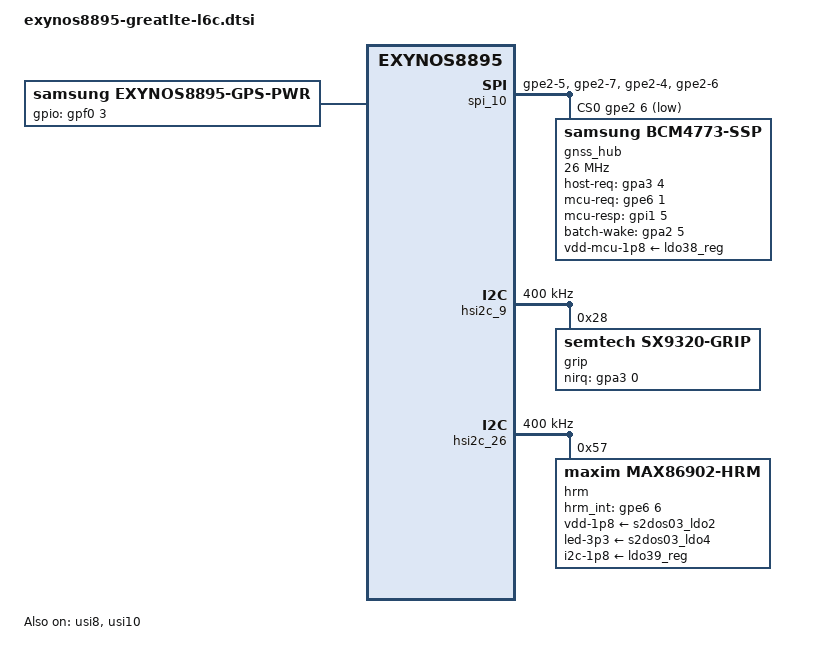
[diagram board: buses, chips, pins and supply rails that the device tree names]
// SPDX-License-Identifier: GPL-2.0 OR BSD-3-Clause
/*
 * Samsung Galaxy Note 8 (greatlte, SM-N950N) board DT, part "l6c":
 * L6C modem, GNSS/sensor hub, grip, HRM (L6C 4).
 *
 * Included at the end of exynos8895-greatlte.dts, after L0's nodes, in the merge
 * order of FULL_IMAGE_PLAN.md 2.2. Owner: WP-6C; no other work package edits this
 * file (plan 2.3 rule D1). A node that two parts both configure (&usi9, &usi10)
 * is written identically in both files: dtc lets the later file win on a differing
 * value, which gl-verify V-DUP reports as an error. L0's reserved-memory stays in
 * the .dts; carveout additions and flag changes are &label edits here (plan X-8).
 */

#include <dt-bindings/gpio/gpio.h>
#include <dt-bindings/interrupt-controller/arm-gic.h>
#include <dt-bindings/soc/samsung,exynos-usi.h>	/* USI_MODE_SPI, 4.2 */
#include "exynos-pinctrl.h"			/* A:arch/arm64/boot/dts/exynos/exynos-pinctrl.h, pin macros of 4.2 */

/* L6C 4.1 (6E modem) */

/* L6.7, plan X-8 (registered flag change): the ported shm_ipc needs the linear map of the CP window
 * (ZMB phys_to_virt: S:drivers/misc/mcu_ipc/shm_ipc.c:357; ZMB cells dma_map_single'd:
 * S:drivers/misc/modem_v1/link_device_memory_sbd.c:1033) and of the CP-log window (released page by page with
 * free_reserved_page() when the S-Boot token is not "on": S:.../shm_ipc.c:434-445, :585-587). Stock kept both mapped. */
&modem_mem {
	/delete-property/ no-map;
};

&cp_ram_logging_mem {
	/delete-property/ no-map;
};

&soc {
	/* AP<->CP mailbox. FDT:10652-10659; S:arch/arm64/boot/dts/exynos/exynos8895-greatlte_common.dtsi:1124-1130 */
	mcu_ipc_cp: mailbox@15b40000 {
		compatible = "samsung,exynos8895-mcu-ipc";	/* new; stock "samsung,exynos-shd-ipc-mailbox" FDT:10654 */
		reg = <0x15b40000 0x180>;			/* FDT:10655 <0x00 0x15b40000 0x180> */
		interrupts = <GIC_SPI 97 IRQ_TYPE_LEVEL_HIGH>;	/* FDT:10658 <0x00 0x61 0x00> */
		mcu,name = "mcu_ipc_cp";			/* FDT:10656 */
		mcu,id = <0>;					/* FDT:10657, MCU_CP (S:drivers/misc/mcu_ipc/mcu_ipc.h:20-24) */
		/* FDT:10653 mcu,irq_affinity_mask = <3> dropped: used only by ARGOS (D-8) */
	};
};

/ {
	/* CP shared-memory layout. FDT:10642-10650; S:.../modem-ss355ap-pdata.dtsi:370-379 (unit address dropped: no reg) */
	shmem_cp: shmem-ipc {
		compatible = "samsung,exynos8895-shm-ipc";	/* new; stock "samsung,exynos-shm_ipc" FDT:10643 */
		memory-region = <&modem_mem>, <&cp_ram_logging_mem>;	/* L0 4.5 labels; stock RESERVEDMEM_OF_DECLARE shm_ipc.c:459,:472 */
		memory-region-names = "modem_if", "cp_ram_logging";
		shmem,cp_size = <0x7a00000>;			/* FDT:10644 "CP 122MB" */
		shmem,vss_size = <0x600000>;			/* FDT:10645 "VSS 6MB" */
		shmem,ipc_offset = <0x8000000>;			/* FDT:10646 */
		shmem,ipc_size = <0x500000>;			/* FDT:10647 "5MB" */
		shmem,zmb_offset = <0x8500000>;			/* FDT:10648 (dtc prints "\bP\0" = 08 50 00 00); S:...pdata.dtsi:377 */
		shmem,zmb_size = <0xb00000>;			/* FDT:10649 "11MB" */
		samsung,acpm-dump = <&apm_sram>;		/* L2 4.2; replaces acpm_ipc dump-base/dump-size FDT:6692-6693 (0x16500000/0xb400) */
	};

	/* Modem interface. FDT:10286-10640; S:.../modem-ss355ap-pdata.dtsi:14-368 + S:.../exynos8895-greatlte_common.dtsi:1132-1140.
	 * Must stay at the root with this reg: platform device "10000.mif_pdata" (A:drivers/of/device.c:304-305, cbd path F-15),
	 * resource start 0x10000 = CP main-binary offset in the boot region (S:.../link_device_shmem.c:2085-2088, :3735);
	 * zero size is legal (A:drivers/of/address.c:195-196). */
	mif_pdata {
		compatible = "samsung,exynos8895-modem";	/* new; stock "sec_modem,modem_pdata" FDT:10288 */
		reg = <0x0 0x10000 0x0>;			/* FDT:10287 */
		interrupts = <GIC_SPI 21 IRQ_TYPE_LEVEL_HIGH>,	/* FDT:10290 idx 0 -> "cp_fail" (S:.../modem_ctrl_ss310ap.c:648) */
			     <GIC_SPI 57 IRQ_TYPE_LEVEL_HIGH>;	/*   idx 1 -> "cp_wdt" (:664); dtsi comment :20 names them ALIVE_CP_ACTIVE / CP2AP_RESET_REQ */
		samsung,mailbox = <&mcu_ipc_cp>;		/* new: probe ordering (5.1.1) */
		samsung,shmem = <&shmem_cp>;			/* new: probe ordering */
		samsung,pmu-syscon = <&pmu_system_controller>;	/* new: D-5 */

		mif,name = "ss355ap";				/* FDT:10291 */
		mif,modem_net = <0>;				/* FDT:10292 UMTS_NETWORK */
		mif,modem_type = <10>;				/* FDT:10293 SEC_SS310AP */
		mif,use_handover = <0>;				/* FDT:10294 */
		mif,ipc_version = <50>;				/* FDT:10295 0x32 = SIPC 5.0 */
		mif,link_types = <0x200>;			/* FDT:10296 LINKDEV_SHMEM */
		mif,link_name = "shmem";			/* FDT:10297 */
		mif,link_attrs = <0x7c9>;			/* FDT:10298 XMIT_BTDLR|DUMP_ALIGNED|BOOT_ALIGNED|MEM_DUMP|MEM_BOOT|DPRAM_MAGIC|SBD_IPC */
		mif,num_iodevs = <20>;				/* FDT:10299 0x14 */
		mif,buff_offset = <0x500000>;			/* FDT:10300 */
		mif,buff_size = <0x900000>;			/* FDT:10301 */
		mif,bufpool_2nd_base = <0xe9000000>;		/* FDT:10302 - parsed, never provided to CP (C-2) */
		mif,bufpool_2nd_size = <0x4000000>;		/* FDT:10303 */
		mbx_ap2cp_msg = <0>;				/* FDT:10304 */
		mbx_cp2ap_msg = <1>;				/* FDT:10305 */
		mbx_ap2cp_united_status = <2>;			/* FDT:10306 */
		mbx_cp2ap_united_status = <3>;			/* FDT:10307 */
		mbx_ap2cp_mif_value = <4>;			/* FDT:10308 */
		mbx_ap2cp_kerneltime = <9>;			/* FDT:10309 */
		mif,int_ap2cp_msg = <0>;			/* FDT:10310 */
		mif,int_ap2cp_wakeup = <1>;			/* FDT:10311 */
		mif,int_ap2cp_status = <2>;			/* FDT:10312 */
		mif,int_ap2cp_active = <3>;			/* FDT:10313 */
		mif,irq_cp2ap_msg = <0>;			/* FDT:10314 */
		mif,irq_cp2ap_status = <2>;			/* FDT:10315 */
		mif,irq_cp2ap_active = <4>;			/* FDT:10316 */
		mif,irq_cp2ap_wakelock = <8>;			/* FDT:10317 */
		mif,irq_cp2ap_ratmode = <9>;			/* FDT:10318 */
		mbx_cp2ap_dvfsreq_cpu = <5>;			/* FDT:10319 */
		mbx_cp2ap_dvfsreq_mif = <6>;			/* FDT:10320 */
		mbx_cp2ap_dvfsreq_int = <7>;			/* FDT:10321 */
		mif,irq_cp2ap_perf_req_cpu = <5>;		/* FDT:10322 */
		mif,irq_cp2ap_perf_req_mif = <6>;		/* FDT:10323 */
		mif,irq_cp2ap_perf_req_int = <7>;		/* FDT:10324 */
		sbi_cp_rat_mode_mask = <0x3f>;			/* FDT:10325 */
		sbi_cp_rat_mode_pos = <26>;			/* FDT:10326 0x1a */
		sbi_cp_evs_mode_mask = <0x1>;			/* FDT:10327 */
		sbi_cp_evs_mode_pos = <7>;			/* FDT:10328 */
		sbi_cp_wakelock_mask = <0x1>;			/* FDT:10329 */
		sbi_cp_wakelock_pos = <6>;			/* FDT:10330 */
		sbi_lte_active_mask = <0x1>;			/* FDT:10331 */
		sbi_lte_active_pos = <5>;			/* FDT:10332 */
		sbi_cp_status_mask = <0xf>;			/* FDT:10333 */
		sbi_cp_status_pos = <1>;			/* FDT:10334 */
		sbi_cp2ap_wakelock_mask = <0x1>;		/* FDT:10335 */
		sbi_cp2ap_wakelock_pos = <6>;			/* FDT:10336 */
		sbi_pda_active_mask = <0x1>;			/* FDT:10337 */
		sbi_pda_active_pos = <5>;			/* FDT:10338 */
		sbi_ap_status_mask = <0xf>;			/* FDT:10339 */
		sbi_ap_status_pos = <1>;			/* FDT:10340 */
		sbi_crash_type_mask = <0xf>;			/* FDT:10341 */
		sbi_crash_type_pos = <23>;			/* FDT:10342 0x17 */
		sbi_device_type_mask = <0x1f>;			/* FDT:10343 */
		sbi_device_type_pos = <18>;			/* FDT:10344 0x12 */
		sbi_ext_backtrace_mask = <0x1>;			/* FDT:10345 */
		sbi_ext_backtrace_pos = <17>;			/* FDT:10346 0x11 */
		sbi_ds_det_mask = <0x3>;			/* FDT:10347 */
		sbi_ds_det_pos = <14>;				/* FDT:10348 0x0e */
		sbi_sys_rev_mask = <0xff>;			/* FDT:10349 */
		sbi_sys_rev_pos = <6>;				/* FDT:10350 */
		sbi_lockval_cp2ap_dvfsreq_endian_mask = <0x1>;	/* FDT:10351 */
		sbi_lockval_cp2ap_dvfsreq_endian_pos = <31>;	/* FDT:10352 0x1f */
		sbi_lockval_cp2ap_dvfsreq_index_mask = <0x7fff>;	/* FDT:10353 */
		sbi_lockval_cp2ap_dvfsreq_index_pos = <0>;	/* FDT:10354 */
		sbi_ap2cp_kerneltime_sec_mask = <0xfff>;	/* FDT:10355 */
		sbi_ap2cp_kerneltime_sec_pos = <20>;		/* FDT:10356 0x14 */
		sbi_ap2cp_kerneltime_usec_mask = <0xfffff>;	/* FDT:10357 */
		sbi_ap2cp_kerneltime_usec_pos = <0>;		/* FDT:10358 */
		/* HW revision straps read into mailbox word 2 [13:6], bit n = GPIO n (S:.../modem_ctrl_ss310ap.c:144-167).
		 * FDT:10359: phandle 0xd7 = gpf1, 0x140 = gpd0 (work/scratch/L6_rest/phandles.txt);
		 * S:.../exynos8895-greatlte_common.dtsi:1133-1135 "XGPIO32-CP_REV0 ... XGPIO42-AP_REV3" */
		gpios = <&gpf1 1 GPIO_ACTIVE_HIGH>, <&gpf1 2 GPIO_ACTIVE_HIGH>,
			<&gpf1 3 GPIO_ACTIVE_HIGH>, <&gpf1 7 GPIO_ACTIVE_HIGH>,
			<&gpd0 0 GPIO_ACTIVE_HIGH>, <&gpd0 1 GPIO_ACTIVE_HIGH>,
			<&gpd0 2 GPIO_ACTIVE_HIGH>, <&gpd0 3 GPIO_ACTIVE_HIGH>;
		/* FDT:10360 pinctrl-names = "default" without pinctrl-0: no effect in stock, dropped */

		iodevs {					/* FDT:10362-10639, verbatim; channel ids per SIPC5 */
			io_device_0 {				/* FDT:10364-10376 */
				iod,name = "umts_ipc0"; iod,id = <0xeb>; iod,format = <0>; iod,io_type = <0>;
				iod,links = <0x200>; iod,attrs = <0x82>; iod,app = "RIL";
				iod,ul_num_buffers = <16>; iod,ul_buffer_size = <0x1000>;
				iod,dl_num_buffers = <32>; iod,dl_buffer_size = <0x1000>;
			};
			io_device_1 {				/* FDT:10378-10390 */
				iod,name = "umts_ipc1"; iod,id = <0xec>; iod,format = <0>; iod,io_type = <0>;
				iod,links = <0x200>; iod,attrs = <0x82>; iod,app = "RIL";
				iod,ul_num_buffers = <16>; iod,ul_buffer_size = <0x1000>;
				iod,dl_num_buffers = <32>; iod,dl_buffer_size = <0x1000>;
			};
			io_device_2 {				/* FDT:10392-10404 */
				iod,name = "umts_rfs0"; iod,id = <0xf5>; iod,format = <2>; iod,io_type = <0>;
				iod,links = <0x200>; iod,attrs = <0x82>; iod,app = "RFS";
				iod,ul_num_buffers = <16>; iod,ul_buffer_size = <0x800>;
				iod,dl_num_buffers = <512>; iod,dl_buffer_size = <0x800>;
			};
			io_device_3 {				/* FDT:10406-10418 */
				iod,name = "umts_csd"; iod,id = <0x1>; iod,format = <1>; iod,io_type = <0>;
				iod,links = <0x200>; iod,attrs = <0x82>; iod,app = "CSVT";
				iod,ul_num_buffers = <32>; iod,ul_buffer_size = <0x800>;
				iod,dl_num_buffers = <64>; iod,dl_buffer_size = <0x800>;
			};
			io_device_4 {				/* FDT:10420-10432 */
				iod,name = "umts_router"; iod,id = <0x19>; iod,format = <1>; iod,io_type = <0>;
				iod,links = <0x200>; iod,attrs = <0x82>; iod,app = "Data Router";
				iod,ul_num_buffers = <16>; iod,ul_buffer_size = <0x800>;
				iod,dl_num_buffers = <16>; iod,dl_buffer_size = <0x800>;
			};
			io_device_5 {				/* FDT:10434-10446 */
				iod,name = "umts_dm0"; iod,id = <0x1c>; iod,format = <1>; iod,io_type = <0>;
				iod,links = <0x200>; iod,attrs = <0x82>; iod,app = "DIAG";
				iod,ul_num_buffers = <16>; iod,ul_buffer_size = <0x800>;
				iod,dl_num_buffers = <128>; iod,dl_buffer_size = <0x800>;
			};
			/* io_device_6..13: rmnet0..rmnet7, FDT:10448-10562: ids 0x0a..0x11, format 1, io_type 1 (NET),
			 * links 0x200, attrs 0x180, napi_weight 0x40, ul/dl_num_buffers 0, ul/dl_buffer_size 0x800;
			 * io_device_6..9 carry iod,app = "NET", 10..13 have no iod,app (FDT:10508-10562) */
			io_device_6 {
				iod,name = "rmnet0"; iod,id = <0x0a>; iod,format = <1>; iod,io_type = <1>;
				iod,links = <0x200>; iod,attrs = <0x180>; iod,app = "NET"; iod,napi_weight = <64>;
				iod,ul_num_buffers = <0>; iod,ul_buffer_size = <0x800>;
				iod,dl_num_buffers = <0>; iod,dl_buffer_size = <0x800>;
			};
			io_device_7 {				/* FDT:10463-10476 */
				iod,name = "rmnet1"; iod,id = <0x0b>; iod,format = <1>; iod,io_type = <1>;
				iod,links = <0x200>; iod,attrs = <0x180>; iod,app = "NET"; iod,napi_weight = <64>;
				iod,ul_num_buffers = <0>; iod,ul_buffer_size = <0x800>;
				iod,dl_num_buffers = <0>; iod,dl_buffer_size = <0x800>;
			};
			io_device_8 {				/* FDT:10478-10491 */
				iod,name = "rmnet2"; iod,id = <0x0c>; iod,format = <1>; iod,io_type = <1>;
				iod,links = <0x200>; iod,attrs = <0x180>; iod,app = "NET"; iod,napi_weight = <64>;
				iod,ul_num_buffers = <0>; iod,ul_buffer_size = <0x800>;
				iod,dl_num_buffers = <0>; iod,dl_buffer_size = <0x800>;
			};
			io_device_9 {				/* FDT:10493-10506 */
				iod,name = "rmnet3"; iod,id = <0x0d>; iod,format = <1>; iod,io_type = <1>;
				iod,links = <0x200>; iod,attrs = <0x180>; iod,app = "NET"; iod,napi_weight = <64>;
				iod,ul_num_buffers = <0>; iod,ul_buffer_size = <0x800>;
				iod,dl_num_buffers = <0>; iod,dl_buffer_size = <0x800>;
			};
			io_device_10 {				/* FDT:10508-10520 (no iod,app) */
				iod,name = "rmnet4"; iod,id = <0x0e>; iod,format = <1>; iod,io_type = <1>;
				iod,links = <0x200>; iod,attrs = <0x180>; iod,napi_weight = <64>;
				iod,ul_num_buffers = <0>; iod,ul_buffer_size = <0x800>;
				iod,dl_num_buffers = <0>; iod,dl_buffer_size = <0x800>;
			};
			io_device_11 {				/* FDT:10522-10534 (no iod,app) */
				iod,name = "rmnet5"; iod,id = <0x0f>; iod,format = <1>; iod,io_type = <1>;
				iod,links = <0x200>; iod,attrs = <0x180>; iod,napi_weight = <64>;
				iod,ul_num_buffers = <0>; iod,ul_buffer_size = <0x800>;
				iod,dl_num_buffers = <0>; iod,dl_buffer_size = <0x800>;
			};
			io_device_12 {				/* FDT:10536-10548 (no iod,app) */
				iod,name = "rmnet6"; iod,id = <0x10>; iod,format = <1>; iod,io_type = <1>;
				iod,links = <0x200>; iod,attrs = <0x180>; iod,napi_weight = <64>;
				iod,ul_num_buffers = <0>; iod,ul_buffer_size = <0x800>;
				iod,dl_num_buffers = <0>; iod,dl_buffer_size = <0x800>;
			};
			io_device_13 {				/* FDT:10550-10562 (no iod,app) */
				iod,name = "rmnet7"; iod,id = <0x11>; iod,format = <1>; iod,io_type = <1>;
				iod,links = <0x200>; iod,attrs = <0x180>; iod,napi_weight = <64>;
				iod,ul_num_buffers = <0>; iod,ul_buffer_size = <0x800>;
				iod,dl_num_buffers = <0>; iod,dl_buffer_size = <0x800>;
			};
			io_device_14 {				/* FDT:10564-10576 */
				iod,name = "multipdp_hiprio"; iod,id = <0>; iod,format = <3>; iod,io_type = <2>;
				iod,links = <0x200>; iod,attrs = <0x180>; iod,app = "RIL";
				iod,ul_num_buffers = <256>; iod,ul_buffer_size = <0x800>;
				iod,dl_num_buffers = <256>; iod,dl_buffer_size = <0x800>;
			};
			io_device_15 {				/* FDT:10578-10590; attrs bit 12 = ATTR_ZEROCOPY (C-2) */
				iod,name = "multipdp"; iod,id = <0>; iod,format = <3>; iod,io_type = <2>;
				iod,links = <0x200>; iod,attrs = <0x1180>; iod,app = "RIL";
				iod,ul_num_buffers = <512>; iod,ul_buffer_size = <0x800>;
				iod,dl_num_buffers = <1024>; iod,dl_buffer_size = <0x8>;
			};
			io_device_16 {				/* FDT:10592-10600 */
				iod,name = "umts_boot0"; iod,id = <0xd7>; iod,format = <4>; iod,io_type = <0>;
				iod,links = <0x200>; iod,attrs = <0x2>; iod,app = "CBD";
			};
			io_device_17 {				/* FDT:10602-10610 */
				iod,name = "umts_ramdump0"; iod,id = <0xe1>; iod,format = <5>; iod,io_type = <0>;
				iod,links = <0x200>; iod,attrs = <0x202>; iod,app = "CBD";
			};
			io_device_18 {				/* FDT:10612-10624 */
				iod,name = "smd4"; iod,id = <0x21>; iod,format = <1>; iod,io_type = <0>;
				iod,links = <0x200>; iod,attrs = <0x882>;
				iod,ul_num_buffers = <16>; iod,ul_buffer_size = <0x800>;
				iod,dl_num_buffers = <128>; iod,dl_buffer_size = <0x800>;
				iod,option_region = "kor_single";
			};
			io_device_19 {				/* FDT:10626-10638; filtered out (region usa_att) but kept: mif,num_iodevs = 20 */
				iod,name = "umts_ciq0"; iod,id = <0x1a>; iod,format = <1>; iod,io_type = <0>;
				iod,links = <0x200>; iod,attrs = <0x882>;
				iod,ul_num_buffers = <16>; iod,ul_buffer_size = <0x800>;
				iod,dl_num_buffers = <128>; iod,dl_buffer_size = <0x800>;
				iod,option_region = "usa_att";
			};
		};
	};
};

/* L6C 4.2 (6I sensor hub + GNSS) */

/ {
	/* L6 4.0 bus alias (stock spi10 = "/spi@108C0000", FDT:4214): bus spi10, device spi10.0, the
	 * sysfs path of the LOS ueventd/sepolicy lines (L6C 7.5). Planned for WP-L6COM, absent in wp/l6f. */
	aliases {
		spi10 = &spi_10;
	};
};

/* USI8 in SPI mode. Stock FDT:4987-5082 usi@10821018 usi_mode = "spi" (SW_CONF 0x4); ACK usi8
 * A:arch/arm64/boot/dts/exynos/exynos8895.dtsi:797-806, sysreg <&syscon_peric1 0x1018> (:805) */
&usi8 {
	samsung,mode = <USI_MODE_SPI>;			/* A:include/dt-bindings/soc/samsung,exynos-usi.h:14; A:drivers/soc/samsung/exynos-usi.c:252 */
	status = "okay";
};

&pinctrl_peric1 {
	/* stock spi1_mosi_sck_ssn FDT:3184-3190 without gpe2-6 (that pin is the GPIO chip select, see cs-gpios) */
	ssp_spi_clk_mosi: ssp-spi-clk-mosi-pins {
		samsung,pins = "gpe2-5", "gpe2-7";
		samsung,pin-function = <EXYNOS_PIN_FUNC_2>;	/* FDT:3186 <0x02> */
		samsung,pin-pud = <EXYNOS_PIN_PULL_NONE>;	/* FDT:3187 <0x00> */
		samsung,pin-drv = <EXYNOS7_PIN_DRV_LV4>;	/* FDT:3188 <0x03>; LV4 = 3 A:arch/arm64/boot/dts/exynos/exynos-pinctrl.h:51 */
	};
	ssp_spi_cs: ssp-spi-cs-pins {
		samsung,pins = "gpe2-6";			/* FDT:3185 third pin, used as GPIO CS FDT:6588 */
		samsung,pin-function = <EXYNOS_PIN_FUNC_OUTPUT>;	/* stock drove it as a GPIO (S:drivers/spi/spi-s3c64xx.c:1161) */
		samsung,pin-pud = <EXYNOS_PIN_PULL_NONE>;	/* FDT:3187 */
		samsung,pin-drv = <EXYNOS7_PIN_DRV_LV4>;	/* FDT:3188 */
	};
	ssp_spi_miso: ssp-spi-miso-pins {
		samsung,pins = "gpe2-4";			/* FDT:3194 */
		samsung,pin-function = <EXYNOS_PIN_FUNC_2>;	/* FDT:3195 */
		samsung,pin-pud = <EXYNOS_PIN_PULL_DOWN>;	/* FDT:3196 <0x01> (A:.../exynos-pinctrl.h:15) */
		samsung,pin-drv = <EXYNOS7_PIN_DRV_LV4>;	/* FDT:3197 */
	};
	ssp_mcu_req: ssp-mcu-req-pins {
		samsung,pins = "gpe6-1";			/* FDT:3203 */
		samsung,pin-function = <EXYNOS_PIN_FUNC_OUTPUT>;	/* FDT:3204 <0x01> */
		samsung,pin-pud = <EXYNOS_PIN_PULL_NONE>;	/* FDT:3205 */
		samsung,pin-drv = <EXYNOS7_PIN_DRV_LV4>;	/* FDT:3206 */
	};
	ssp_gps_pwr_en: ssp-gps-pwr-en-pins {
		samsung,pins = "gpf0-3";			/* FDT:3212 */
		samsung,pin-function = <EXYNOS_PIN_FUNC_OUTPUT>;	/* FDT:3213 */
		samsung,pin-pud = <EXYNOS_PIN_PULL_DOWN>;	/* FDT:3214 <0x01> */
		samsung,pin-drv = <EXYNOS7_PIN_DRV_LV4>;	/* FDT:3215 */
		samsung,pin-con-pdn = <EXYNOS_PIN_PDN_PREV>;	/* FDT:3216 <0x03>; A:.../exynos-pinctrl.h:22; A:drivers/pinctrl/samsung/pinctrl-samsung.c:44 */
		samsung,pin-pud-pdn = <EXYNOS_PIN_PULL_NONE>;	/* FDT:3217 <0x00>; pinctrl-samsung.c:45 */
	};
};

&pinctrl_alive {
	ssp_host_req: ssp-host-req-pins {
		samsung,pins = "gpa3-4";			/* FDT:346 */
		samsung,pin-function = <EXYNOS_PIN_FUNC_EINT>;	/* FDT:347 <0x0f> */
		samsung,pin-pud = <EXYNOS_PIN_PULL_DOWN>;	/* FDT:348 <0x01> */
		samsung,pin-drv = <EXYNOS7_PIN_DRV_LV4>;	/* FDT:349 */
	};
	ssp_batch_wake_irq: ssp-batch-wake-irq-pins {
		samsung,pins = "gpa2-5";			/* FDT:364 */
		samsung,pin-function = <EXYNOS_PIN_FUNC_EINT>;	/* FDT:365 */
		samsung,pin-pud = <EXYNOS_PIN_PULL_NONE>;	/* FDT:366 */
		samsung,pin-drv = <EXYNOS7_PIN_DRV_LV4>;	/* FDT:367 */
	};
};

&pinctrl_fsys0 {
	ssp_mcu_resp: ssp-mcu-resp-pins {
		samsung,pins = "gpi1-5";			/* FDT:733 */
		samsung,pin-function = <EXYNOS_PIN_FUNC_INPUT>;	/* FDT:734 <0x00> */
		samsung,pin-pud = <EXYNOS_PIN_PULL_UP>;		/* FDT:735 <0x03> */
		samsung,pin-drv = <EXYNOS7_PIN_DRV_LV4>;	/* FDT:736 */
	};
};

/* spi@108C0000. FDT:6548-6592; ACK spi_10 = usi8 child @0x108c0000, SPI 409 (L6 V1). */
&spi_10 {
	pinctrl-names = "default";
	pinctrl-0 = <&ssp_spi_clk_mosi &ssp_spi_miso &ssp_spi_cs>;	/* replaces ACK <&spi10_bus> (pull/drive differ, 2.2) */
	cs-gpios = <&gpe2 6 GPIO_ACTIVE_LOW>;		/* stock controller-data cs-gpio FDT:6588 (<0x60 0x06 0x00>, 0x60 = gpe2),
							   driven active-low by stock S:drivers/spi/spi-s3c64xx.c:600; 6.18 uses
							   controller cs-gpios A:drivers/spi/spi-s3c64xx.c:1308 */
	num-cs = <1>;					/* FDT:6562 */
	/* stock samsung,spi-fifosize = <0x40> (FDT:6551) = fifo_depth 64 of the new exynos8895 port config (5.2.1, final run I-1);
	   stock swap-mode (FDT:6554) is not implemented by 6.18 s3c64xx and not needed (8-bit words, 5.3.1);
	   no dmas (stock had dma-names only, FDT:6553) -> polling (A:.../spi-s3c64xx.c:1183) */
	/* (final run, I-1) SPI source clock = stock value 50 MHz. Stock asks CAL for 2 x 26 MHz on the USI08 vclk
	 * (S:drivers/spi/spi-s3c64xx.c:782-783 "There is half-multiplier before the SPI" clk_set_rate(src_clk, cur_speed * 2);
	 * src_clk = "spi_busclk0" = FDT:6557-6558 <0x21 0x101> = USI08 (S:include/dt-bindings/clock/exynos8895.h:98,106)
	 * = VCLK_SPL_CLK_PERIC1_USI08_BLK_CMU (S:drivers/clk/samsung/clk-exynos8895.c:559)); CAL get_lut picks the first LUT
	 * row with rate <= request (S:drivers/soc/samsung/cal-if/vclk.c:15-26, :150 rate/1000): 52000 -> {50000, l2}
	 * (S:.../cal-if/exynos8895/cmucal-vclk.c:2719-2726) = params {7, 2} (S:.../cmucal-vclklut.c:416-418) =
	 * DIV_CLKCMU_PERIC1_USI08 ratio 7 (/8) + MUX_CLKCMU_PERIC1_USI08 select 2 = DIV_PLL_SHARED2_DIV2
	 * (vclk list S:.../cmucal-vclk.c:206-209; parents S:.../cmucal-node.c:217-222); 400 MHz / 8 = 50 MHz (the same
	 * mux 2 gives 200 MHz with ratio 1 in row nm {1, 2} and 100 MHz with ratio 3 in row l1 {3, 2}, so the parent is 400 MHz).
	 * 6.18 cannot reach that divider from the SPI driver: gout_peric1_usi08_i_sclk_usi and mout_peric1_usi08_user carry
	 * no CLK_SET_RATE_PARENT (A:drivers/clk/samsung/clk-exynos8895.c:2706-2709, :2540-2542; MUX() adds only
	 * CLK_SET_RATE_NO_REPARENT A:drivers/clk/samsung/clk.h:144-145), so clk_set_rate() rounds to the current rate
	 * (A:drivers/clk/clk.c:1742-1765) and returns 0 without a change (:2603-2607). The rate is therefore set here,
	 * at the controller's probe (of_clk_set_defaults, A:drivers/base/platform.c:1408), register-equivalent to stock:
	 * ACK TOP mux 0x10dc [1:0] and div 0x18e4 [3:0] (A:.../clk-exynos8895.c:914-916, :1064-1065) = stock SFRs
	 * S:.../cmucal-sfr.c:546-547 with SELECT [1:0] and DIVRATIO [3:0] (:3583, :3586); ACK parents
	 * {oscclk, shared0_div4, shared2_div2, shared4_div2} (A:.../clk-exynos8895.c:722-724) = stock order
	 * {OSCCLK_CMU, DIV_PLL_SHARED0_DIV4, DIV_PLL_SHARED2_DIV2, DIV_PLL_SHARED4_DIV2}; PERIC1 USER mux 0x0220 bit 4
	 * (A:.../clk-exynos8895.c:2540-2542) = stock PLL_CON0_MUX_CLKCMU_PERIC1_USI08_USER 0x0220 MUX_SEL bit 4
	 * (S:.../cmucal-sfr.c:1813, :7239), parents {oscclk, dout_cmu_peric1_usi08} (A:.../clk-exynos8895.c:2500-2501)
	 * = {OSCCLK_PERIC1, CLKCMU_PERIC1_USI08} (S:.../cmucal-node.c:765-768). With the source equal to stock the
	 * serial clock equals stock's whatever the IP-internal divider is; the port config's clk_div = 2 (5.2.1) only
	 * makes 6.18's own cur_speed bookkeeping (timeouts, HS_EN test) read the stock value 25 MHz. Check S-P12. */
	assigned-clocks = <&cmu_top CLK_MOUT_CMU_PERIC1_USI08>,	/* A:include/dt-bindings/clock/samsung,exynos8895.h:79 */
			  <&cmu_top CLK_DOUT_CMU_PERIC1_USI08>,	/* :144 */
			  <&cmu_peric1 CLK_MOUT_PERIC1_USI08_USER>;	/* :397; cmu_top/cmu_peric1 A:.../exynos8895.dtsi:1331, :504 */
	assigned-clock-parents = <&cmu_top CLK_DOUT_CMU_SHARED2_DIV2>,	/* :158; stock mux select 2 */
				 <0>,
				 <&cmu_top CLK_DOUT_CMU_PERIC1_USI08>;	/* stock USER mux = CLKCMU_PERIC1_USI08 */
	assigned-clock-rates = <0>, <50000000>, <0>;		/* stock LUT row {50000, l2} */
	status = "okay";

	gnss_hub: gnss-hub@0 {
		compatible = "samsung,bcm4773-ssp";		/* new; stock "ssp,BCM4773" FDT:6565 */
		reg = <0>;					/* FDT:6566 */
		spi-max-frequency = <26000000>;			/* FDT:6567 0x18cba80 */
		spi-cpol;					/* FDT:6568 */
		spi-cpha;					/* FDT:6569 (SSP forces SPI_MODE_3 too, S:.../ssp_dev.c:703) */
		pinctrl-names = "default";
		pinctrl-0 = <&ssp_host_req &ssp_mcu_req &ssp_mcu_resp &ssp_batch_wake_irq>;	/* FDT:6571 <0xb7 0xb8 0xb9 0xba> */
		host-req-gpios = <&gpa3 4 GPIO_ACTIVE_HIGH>;	/* FDT:6574 ssp-host-req <0x4c 0x04 0x00>, 0x4c = gpa3 */
		mcu-req-gpios = <&gpe6 1 GPIO_ACTIVE_HIGH>;	/* FDT:6575 ssp-mcu-req <0x68 0x01 0x00>, 0x68 = gpe6 */
		mcu-resp-gpios = <&gpi1 5 GPIO_ACTIVE_HIGH>;	/* FDT:6576 ssp-mcu-resp <0x8a 0x05 0x00>, 0x8a = gpi1 */
		batch-wake-gpios = <&gpa2 5 GPIO_ACTIVE_HIGH>;	/* FDT:6577 ssp-batch-wake-irq <0x4f 0x05 0x00>, 0x4f = gpa2 */
		vdd-mcu-1p8-supply = <&ldo38_reg>;		/* FDT:6585 ssp-vdd-mcu-1p8 = "vdd_mcu_1p8" = FDT:7249 LDO38 */
		ssp-acc-position = <3>;				/* FDT:6578 */
		ssp-mag-position = <6>;				/* FDT:6579 */
		ssp-sns-combination = <0>;			/* FDT:6580 (not read by the built code; kept for fidelity) */
		ssp-ap-rev = <1>;				/* FDT:6581 */
		ssp-mag-array = [1b 56 86 0d 25 f0 fe 82 d4 36 ef 55 28 1c 01 e8 f4 68 57 79 ba fe d3 85 0a 4d 95];	/* FDT:6582 (27 bytes, mag_type 1) */
		ssp-glass-type = <0>;				/* FDT:6583 */
		ssp-mag-type = <1>;				/* FDT:6584 */
		controller-data {
			samsung,spi-feedback-delay = <0>;	/* FDT:6589; read A:drivers/spi/spi-s3c64xx.c:975 */
		};
	};
};

/ {
	/* GPS standby (nSTDBY) line. FDT:12533-12539. */
	gps-pwr {
		compatible = "samsung,exynos8895-gps-pwr";	/* new; stock "samsung,exynos54xx-bcm4753" FDT:12534 */
		pinctrl-names = "default";			/* stock state name "hub_en" FDT:12535 (selected by hand, S:drivers/gps/sec_gps_bcm47531.c:260-264) */
		pinctrl-0 = <&ssp_gps_pwr_en>;			/* FDT:12536 <0x164> */
		gpios = <&gpf0 3 GPIO_ACTIVE_HIGH>;		/* FDT:12537 <0x84 0x03 0x00>, 0x84 = gpf0 */
	};
};

/* L6C 4.3 (6I-G grip, 6I-H HRM) */

/* Grip. Bus hsi2c_9 (usi2 i2c@0, 0x10480000, SPI 372) = stock hsi2c@10480000 FDT:5304-5319; usi2 mode I2C0_1 is set by
 * L6F (2.7). The sx9320,* register values are kept under their stock names (D-16 rule: the transplanted parser
 * S:drivers/sensorhub/brcm/sx9320.c:1544-1586 reads them; names S:.../sx9320_reg.h:121-138). */
&hsi2c_9 {
	#address-cells = <1>;
	#size-cells = <0>;
	clock-frequency = <400000>;	/* FDT:5304-5319 has none: stock default fs_clock 400 kHz
					   (S:drivers/i2c/busses/i2c-exynos5.c:212, :1573-1574); 6.18 would use 100 kHz
					   (A:drivers/i2c/busses/i2c-exynos5.c:897-898) */
	status = "okay";

	grip@28 {
		compatible = "semtech,sx9320-grip";	/* new; stock "sx9320" FDT:5321 (node sx9320-i2c@22 FDT:5320) */
		reg = <0x28>;				/* FDT:5322 */
		pinctrl-names = "default";		/* FDT:5324 */
		pinctrl-0 = <&grip_irq>;		/* FDT:5325 <0x4b> = grip-irq FDT:336-343 */
		sx9320,nirq-gpio = <&gpa3 0 GPIO_ACTIVE_HIGH>;	/* FDT:5329 <0x4c 0x00 0x00>, 0x4c = gpa3 (FDT:126-133);
							   gpiod con_id "sx9320,nirq" + suffix "gpio" (A:drivers/gpio/gpiolib.c:107) */
		/* FDT:5326-5327 interrupt-parent/interrupts <0 0 0> dropped: the driver takes the IRQ from the GPIO */
		sx9320,phen = <0x03>;			/* FDT:5328 */
		sx9320,gain = <0x01>;			/* FDT:5330 */
		sx9320,again = <0x08>;			/* FDT:5331 */
		sx9320,scan_period = <0x16>;		/* FDT:5332 */
		sx9320,range = <0x00>;			/* FDT:5333 */
		sx9320,sampling_freq = <0x05>;		/* FDT:5334 */
		sx9320,resolution = <0x07>;		/* FDT:5335 */
		sx9320,rawfilt = <0x01>;		/* FDT:5336 */
		sx9320,hyst = <0x01>;			/* FDT:5337 */
		sx9320,avgposfilt = <0x04>;		/* FDT:5338 */
		sx9320,avgnegfilt = <0x01>;		/* FDT:5339 */
		sx9320,avgthresh = <0x20>;		/* FDT:5340 */
		sx9320,debouncer = <0x01>;		/* FDT:5341 */
		sx9320,normal_thd = <0x1b>;		/* FDT:5342 */
		sx9320,afeph0 = <0x00>;			/* FDT:5343 */
		sx9320,afeph1 = <0x00>;			/* FDT:5344 */
		sx9320,afeph2 = <0x00>;			/* FDT:5345 */
		sx9320,afeph3 = <0x04>;			/* FDT:5346 */
	};
};

&pinctrl_alive {
	grip_irq: grip-irq-pins {
		samsung,pins = "gpa3-0";			/* FDT:337 */
		samsung,pin-function = <EXYNOS_PIN_FUNC_EINT>;	/* FDT:338 <0x0f> */
		samsung,pin-pud = <EXYNOS_PIN_PULL_NONE>;	/* FDT:339 <0x00> */
		samsung,pin-drv = <EXYNOS7_PIN_DRV_LV4>;	/* FDT:340 <0x03> */
	};
};

/* HRM. Bus hsi2c_26 (usi10 i2c@10000, 0x10910000, SPI 415) = stock hsi2c@10910000 FDT:5930-5944. */
&usi10 {
	samsung,mode = <USI_MODE_I2C0_1>;	/* stock usi@10821020 usi_mode = "hsi2c0_hsi2c1" FDT:5056-5061; identical statement in L6B */
	status = "okay";
};

&hsi2c_26 {
	#address-cells = <1>;
	#size-cells = <0>;
	clock-frequency = <400000>;	/* as hsi2c_9 */
	status = "okay";

	hrm@57 {
		compatible = "maxim,max86902-hrm";	/* new; stock "hrmsensor" FDT:5966 (node hrmsensor@57 FDT:5965) */
		reg = <0x57>;				/* FDT:5967 */
		pinctrl-names = "default", "sleep", "idle";	/* FDT:5971 */
		pinctrl-0 = <&hrm_irq>;			/* FDT:5972 <0x78> = hrm-irq FDT:3148-3155 */
		pinctrl-1 = <&hrm_irqsleep>;		/* FDT:5973 <0x79> = hrm-irqsleep FDT:3157-3164 */
		pinctrl-2 = <&hrm_irqidle>;		/* FDT:5974 <0x7a> = hrm-irqidle FDT:3166-3173 */
		hrmsensor,hrm_int-gpio = <&gpe6 6 GPIO_ACTIVE_HIGH>;	/* FDT:5970 <0x68 0x06 0x00>, 0x68 = gpe6 (FDT:2071-2078);
							   gpiod con_id "hrmsensor,hrm_int" */
		/* FDT:5968-5969 interrupt-parent/interrupts <6 0 0> dropped: the driver takes the IRQ from the GPIO */
		hrmsensor,vdd_1p8 = "HRM_1.8V_AP";	/* FDT:5975; kept (parsed, logged) */
		hrmsensor,led_3p3 = "HRM_3.3V_AP";	/* FDT:5976 */
		hrmsensor,i2c_1p8 = "VDD_NFC_1P8";	/* FDT:5977 */
		vdd-1p8-supply = <&s2dos03_ldo2>;	/* new, G-24: the rail named "HRM_1.8V_AP" */
		led-3p3-supply = <&s2dos03_ldo4>;	/* new, G-24: "HRM_3.3V_AP" */
		i2c-1p8-supply = <&ldo39_reg>;		/* new, G-24: "VDD_NFC_1P8" (L2) */
	};
};

&pinctrl_peric1 {
	hrm_irq: hrm-irq-pins {
		samsung,pins = "gpe6-6";			/* FDT:3149 */
		samsung,pin-function = <EXYNOS_PIN_FUNC_INPUT>;	/* FDT:3150 <0x00> */
		samsung,pin-pud = <EXYNOS_PIN_PULL_NONE>;	/* FDT:3151 */
		samsung,pin-drv = <EXYNOS7_PIN_DRV_LV4>;	/* FDT:3152 <0x03> */
	};
	hrm_irqsleep: hrm-irqsleep-pins {
		samsung,pins = "gpe6-6";			/* FDT:3158 */
		samsung,pin-function = <EXYNOS_PIN_FUNC_EINT>;	/* FDT:3159 <0x0f> */
		samsung,pin-pud = <EXYNOS_PIN_PULL_NONE>;	/* FDT:3160 */
		samsung,pin-drv = <EXYNOS7_PIN_DRV_LV4>;	/* FDT:3161 */
	};
	hrm_irqidle: hrm-irqidle-pins {
		samsung,pins = "gpe6-6";			/* FDT:3167 */
		samsung,pin-function = <EXYNOS_PIN_FUNC_EINT>;	/* FDT:3168 */
		samsung,pin-pud = <EXYNOS_PIN_PULL_NONE>;	/* FDT:3169 */
		samsung,pin-drv = <EXYNOS7_PIN_DRV_LV4>;	/* FDT:3170 */
	};
};

/* HRM rails on the S2DOS03 panel PMIC (L5 4.8 node, L5 5.8 driver: ldo1..ldo4 described, L5_display.md:908);
 * L5 declares only buck1/ldo1/ldo3 (L5_display.md:474) and leaves ldo2/ldo4 to this layer through &s2dos03. */
&s2dos03 {
	regulators {
	s2dos03_ldo2: ldo2 {
		regulator-name = "HRM_1.8V_AP";		/* FDT:5550 */
		regulator-min-microvolt = <1800000>;	/* FDT:5551 0x1b7740 */
		regulator-max-microvolt = <1800000>;	/* FDT:5552; min == max -> apply_uV at registration
							   (A:drivers/regulator/of_regulator.c:110-111), so the driver's
							   regulator_set_voltage(1.8 V) passes (A:drivers/regulator/core.c:3839-3841) */
	};
	s2dos03_ldo4: ldo4 {
		regulator-name = "HRM_3.3V_AP";		/* FDT:5556 */
		regulator-min-microvolt = <3300000>;	/* FDT:5557 0x325aa0 */
		regulator-max-microvolt = <3300000>;	/* FDT:5558 */
	};
	};
};
